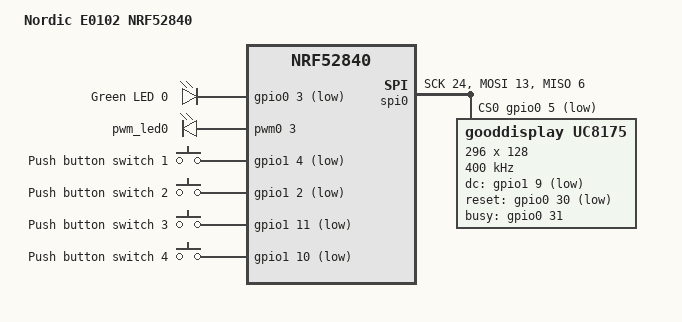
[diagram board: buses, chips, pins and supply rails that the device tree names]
/*
 *
 * SPDX-License-Identifier: Apache-2.0
 */

/dts-v1/;
#include <nordic/nrf52840_qiaa.dtsi>

/ {
	model = "Nordic E0102 NRF52840";
	compatible = "nordic,e0102-nrf52840";

	chosen {
		zephyr,console = &uart0;
		zephyr,sram = &sram0;
		zephyr,flash = &flash0;
		zephyr,code-partition = &slot0_partition;
	};
	leds {
		compatible = "gpio-leds";
		led0: led_0 {
			gpios = <&gpio0 3 GPIO_ACTIVE_LOW>;
			label = "Green LED 0";
		};
//		led1: led_1 {
//			gpios = <&gpio1 13 GPIO_ACTIVE_LOW>;
//			label = "Green LED 1";
//		};
	};

	pwmleds {
		compatible = "pwm-leds";
		pwm_led0: pwm_led_0 {
			pwms = <&pwm0 3>;
		};
	};

	buttons {
		compatible = "gpio-keys";
//		button0: button_0 {
//			gpios = <&gpio1 6 (GPIO_PULL_UP | GPIO_ACTIVE_LOW)>;
//			label = "Push button switch 0";
//		};
		button1: button_1 {
			gpios = <&gpio1 4 (GPIO_PULL_UP | GPIO_ACTIVE_LOW)>;
			label = "Push button switch 1";
		};
		button2: button_2 {
			gpios = <&gpio1 2 (GPIO_PULL_UP | GPIO_ACTIVE_LOW)>;
			label = "Push button switch 2";
		};
		button3: button_3 {
			gpios = <&gpio1 11 (GPIO_PULL_UP | GPIO_ACTIVE_LOW)>;
			label = "Push button switch 3";
		};
		button4: button_4 {
			gpios = <&gpio1 10 (GPIO_PULL_UP | GPIO_ACTIVE_LOW)>;
			label = "Push button switch 4";
		};
	};

};

&gpio0 {
	status = "okay";
};

&gpio1 {
    status = "okay";
};


//&uart0 {
//	compatible = "nordic,nrf-uart";
//	status = "okay";
//	current-speed = <115200>;
//	tx-pin = <26>;
//	rx-pin = <12>;
//};

&flash0 {
	/*
	 * For more information, see:
	 * http://docs.zephyrproject.org/latest/guides/dts/index.html#flash-partitions
	 */
	partitions {
		compatible = "fixed-partitions";
		#address-cells = <1>;
		#size-cells = <1>;

		boot_partition: partition@0 {
			label = "mcuboot";
			reg = <0x000000000 0x00010000>;
		};
		slot0_partition: partition@10000 {
			label = "image-0";
			reg = <0x00010000 0x00065000>;
		};
		slot1_partition: partition@75000 {
			label = "image-1";
			reg = <0x00075000 0x00065000>;
		};
		scratch_partition: partition@da000 {
			label = "image-scratch";
			reg = <0x000da000 0x0001e000>;
		};

		/*
		 * The flash starting at 0x000f8000 and ending at
		 * 0x000fffff is reserved for use by the application.
		 */

		/*
		 * Storage partition will be used by FCB/LittleFS/NVS
		 * if enabled.
		 */
		storage_partition: partition@f8000 {
			label = "storage";
			reg = <0x000f8000 0x00008000>;
		};
	};
};

&spi0 {
	compatible = "nordic,nrf-spi";
	status = "okay";
	sck-pin = <24>;
	mosi-pin = <13>;
	miso-pin = <6>;
	cs-gpios = <&gpio0 5 GPIO_ACTIVE_LOW>;
    uc8175@0 {
		compatible = "gooddisplay,uc8175";
		label = "UC8175";
		spi-max-frequency = <400000>;
		reg = <0>;
		width = <296>;
		height = <128>;
		dc-gpios = <&gpio1 9 GPIO_ACTIVE_LOW>;
		reset-gpios = <&gpio0 30 GPIO_ACTIVE_LOW>;
		busy-gpios = <&gpio0 31 GPIO_ACTIVE_HIGH>;
		pwr = [07 07 3f 3f];
		softstart = [17 17 17 17];
		cdi = <07>;
		tcon = <0x22>;
	};
};
